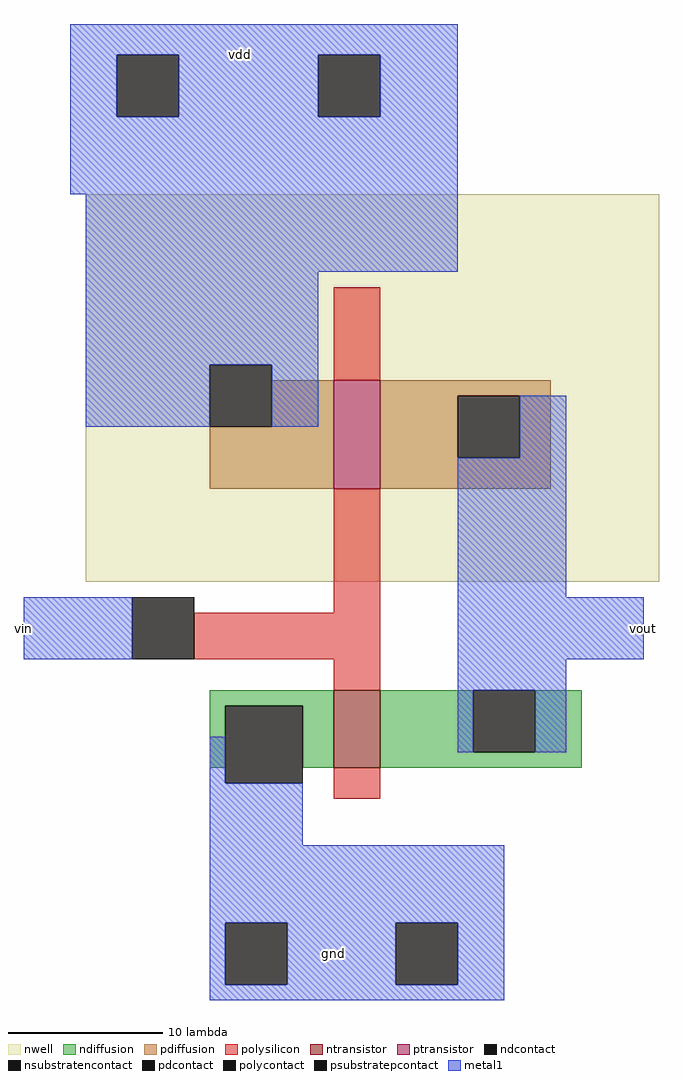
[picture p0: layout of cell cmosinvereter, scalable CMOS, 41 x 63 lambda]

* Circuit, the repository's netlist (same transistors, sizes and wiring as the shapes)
* SPICE3 file created from cmosinvereter.ext - technology: scmos

.option scale=0.1u

M1000 vout vin vdd w_n14_4# pfet w=7 l=3
+  ad=77 pd=36 as=92 ps=64
M1001 vout vin gnd vdd nfet w=5 l=3
+  ad=65 pd=36 as=77 ps=60


.model CMOSN NMOS (LEVEL=8 VERSION=3.2 TNOM=27 TOX=4.1E-9 XJ=1E-7 NCH=2.3549E17 VTH0=0.3823463 K1=0.5810697 
+            K2=4.774618E-3 K3=0.0431669 K3B=1.1498346 W0=1E-7 NLX=1.910552E-7 DVT0W=0 DVT1W=0 DVT2W=0 
+            DVT0=1.2894824 DVT1=0.3622063 DVT2=0.0713729 U0=280.633249 UA=-1.208537E-9 UB=2.158625E-18
+            UC=5.342807E-11 VSAT=9.366802E4 A0=1.7593146 AGS=0.3939741 B0=-6.413949E-9 B1=-1E-7 KETA=-5.180424E-4
+            A1=0 A2=1 RDSW=105.5517558 PRWG=0.5 PRWB=-0.1998871 WR=1 WINT=7.904732E-10 LINT=1.571424E-8 XL=0
+            XW=-1E-8 DWG=1.297221E-9 DWB=1.479041E-9 VOFF=-0.0955434 NFACTOR=2.4358891 CIT=0 CDSC=2.4E-4 CDSCD=0
+            CDSCB=0 ETA0=3.104851E-3 ETAB=-2.512384E-5 DSUB=0.0167075 PCLM=0.8073191 PDIBLC1=0.1666161 PDIBLC2=3.112892E-3    
+            PDIBLCB=-0.1 DROUT=0.7875618 PSCBE1=8E10 PSCBE2=9.213635E-10 PVAG=3.85243E-3 DELTA=0.01 RSH=6.7 MOBMOD=1
+            PRT=0 UTE=-1.5 KT1=-0.11 KT1L=0 KT2=0.022 UA1=4.31E-9 UB1=-7.61E-18 UC1=-5.6E-11 AT=3.3E4 WL=0 WLN=1
+            WW=0 WWN=1 WWL=0 LL=0 LLN=1 LW=0 LWN=1 LWL=0 CAPMOD=2 XPART=0.5 CGDO=7.08E-10 CGSO=7.08E-10 CGBO=1E-12
+            CJ=9.68858E-4 PB=0.8 MJ=0.3864502 CJSW=2.512138E-10 PBSW=0.809286 MJSW=0.1060414 CJSWG=3.3E-10 PBSWG=0.809286 
+            MJSWG=0.1060414 CF=0 PVTH0=-1.192722E-3 PRDSW=-5 PK2=6.450505E-5 WKETA=-4.27294E-4 LKETA=-0.0104078 
+            PU0=6.3268729 PUA=2.226552E-11 PUB=0 PVSAT=969.1480157 PETA0=1E-4 PKETA=-1.049509E-3)

.model CMOSP PMOS (LEVEL=8 VERSION=3.2 TNOM=27 TOX=4.1E-9 XJ=1E-7 NCH=4.1589E17 VTH0=-0.3938813 K1=0.5479015
+            K2=0.0360586 K3=0.0993095 K3B=5.7086622 W0=1E-6 NLX=1.313191E-7 DVT0W=0 DVT1W=0 DVT2W=0 DVT0=0.4911363
+            DVT1=0.2227356 DVT2=0.1 U0=115.6852975 UA=1.505832E-9 UB=1E-21 UC=-1E-10 VSAT=1.329694E5 A0=1.7590478
+            AGS=0.3641621 B0=3.427126E-7 B1=1.062928E-6 KETA=0.0134667 A1=0.6859506 A2=0.3506788 RDSW=168.5705677
+            PRWG=0.5 PRWB=-0.4987371 WR=1 WINT=0 LINT=3.028832E-8 XL=0 XW=-1E-8 DWG=-2.349633E-8 DWB=-7.152486E-9 
+            VOFF=-0.0994037 NFACTOR=1.9424315 CIT=0 CDSC=2.4E-4 CDSCD=0 CDSCB=0 ETA0=0.0608072 ETAB=-0.0426148
+            DSUB=0.7343015 PCLM=3.2579974 PDIBLC1=7.229527E-6 PDIBLC2=0.025389 PDIBLCB=-1E-3 DROUT=0 PSCBE1=1.454878E10
+            PSCBE2=4.202027E-9 PVAG=15 DELTA=0.01 RSH=7.8 MOBMOD=1 PRT=0 UTE=-1.5 KT1=-0.11 KT1L=0 KT2=0.022 UA1=4.31E-9
+            UB1=-7.61E-18 UC1=-5.6E-11 AT=3.3E4 WL=0 WLN=1 WW=0 WWN=1 WWL=0 LL=0 LLN=1 LW=0 LWN=1 LWL=0 CAPMOD=2 XPART=0.5
+            CGDO=6.32E-10 CGSO=6.32E-10 CGBO=1E-12 CJ=1.172138E-3 PB=0.8421173 MJ=0.4109788 CJSW=2.242609E-10 PBSW=0.8            +            MJSW=0.3752089 CJSWG=4.22E-10 PBSWG=0.8 MJSWG=0.3752089 CF=0 PVTH0=1.888482E-3 PRDSW=11.5315407 PK2=1.559399E-3    
+            WKETA=0.0319301 LKETA=2.955547E-3 PU0=-1.1105313 PUA=-4.62102E-11 PUB=1E-21 PVSAT=50 PETA0=1E-4 PKETA=-4.346368E-3)

v1 vdd gnd  1.8
vin in gnd pulse(0 1.8 1n 1n 20n 50n)

.tran 0.01n 5n 0n
.control
run
plot V(vin) V(out)
.endc
.end

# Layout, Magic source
magic
tech scmos
<< nwell >>
rect -14 4 23 29
<< ntransistor >>
rect 2 -8 5 -3
<< ptransistor >>
rect 2 10 5 17
<< ndiffusion >>
rect -6 -4 2 -3
rect -6 -8 -5 -4
rect 0 -8 2 -4
rect 5 -7 11 -3
rect 15 -7 18 -3
rect 5 -8 18 -7
<< pdiffusion >>
rect -2 14 2 17
rect -6 10 2 14
rect 5 16 16 17
rect 5 12 10 16
rect 14 12 16 16
rect 5 10 16 12
<< ndcontact >>
rect -5 -9 0 -4
rect 11 -7 15 -3
<< pdcontact >>
rect -6 14 -2 18
rect 10 12 14 16
<< psubstratepcontact >>
rect -12 34 -8 38
rect 1 34 5 38
<< nsubstratencontact >>
rect -5 -22 -1 -18
rect 6 -22 10 -18
<< polysilicon >>
rect 2 17 5 23
rect 2 2 5 10
rect -7 -1 5 2
rect 2 -3 5 -1
rect 2 -10 5 -8
<< polycontact >>
rect -11 -1 -7 3
<< metal1 >>
rect -15 38 10 40
rect -15 34 -12 38
rect -8 34 1 38
rect 5 34 10 38
rect -15 29 10 34
rect -14 24 10 29
rect -14 18 1 24
rect -14 14 -6 18
rect -2 14 1 18
rect 14 12 17 16
rect 10 3 17 12
rect -18 -1 -11 3
rect 10 -1 22 3
rect 10 -3 17 -1
rect -6 -9 -5 -6
rect 10 -7 11 -3
rect 15 -7 17 -3
rect -6 -13 0 -9
rect -6 -18 13 -13
rect -6 -22 -5 -18
rect -1 -22 6 -18
rect 10 -22 13 -18
rect -6 -23 13 -22
<< labels >>
rlabel metal1 22 -1 22 3 7 vout
rlabel metal1 -18 -1 -18 3 3 vin
rlabel metal1 -4 38 -4 38 5 vdd
rlabel metal1 2 -20 2 -20 1 gnd
<< end >>
